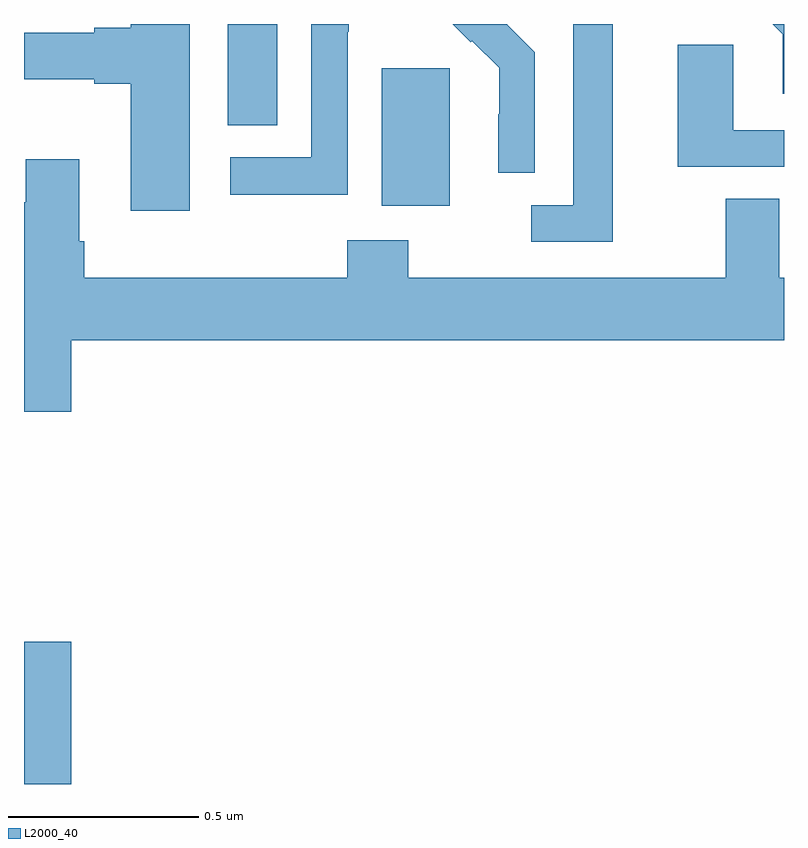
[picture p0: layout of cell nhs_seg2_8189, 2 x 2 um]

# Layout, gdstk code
import gdstk
lib = gdstk.Library(unit=1e-6, precision=1e-09)
def R(c, l, rs):  # rectangles x0, y0, x1, y1
    for r in rs: c.add(gdstk.rectangle(r[:2], r[2:], *l))
def P(c, l, *ps):  # polygons
    for p in ps: c.add(gdstk.Polygon(p, *l))
L2000_40 = (2000, 40)

nhs_seg2_8189 = lib.new_cell('nhs_seg2_8189')
R(nhs_seg2_8189, L2000_40, [(213,647.8,213.124,648.175), (213.941,649.322,214.12,649.683), (213.536,649.534,213.667,649.8)])
P(nhs_seg2_8189, L2000_40, [(213.436,649.8),(213.281,649.8),(213.281,649.79),(213.185,649.79),(213.185,649.777),(213,649.777),(213,649.655),(213.185,649.655),(213.185,649.643),(213.281,649.643),(213.281,649.308),(213.436,649.308)],
  [(214.549,649.8),(214.445,649.8),(214.445,649.323),(214.335,649.323),(214.335,649.227),(214.549,649.227)],
  [(215,649.8),(214.97,649.8),(214.997,649.773),(214.997,649.617),(215,649.617)],
  [(213.852,649.78),(213.855,649.78),(213.855,649.8),(213.756,649.8),(213.756,649.449),(213.543,649.449),(213.543,649.351),(213.852,649.351)],
  [(214.344,649.726),(214.271,649.799),(214.272,649.8),(214.128,649.8),(214.176,649.752),(214.179,649.755),(214.25,649.685),(214.25,649.562),(214.248,649.562),(214.248,649.408),(214.344,649.408)],
  [(215,649.521),(214.866,649.521),(214.866,649.745),(214.721,649.745),(214.721,649.425),(215,649.425)],
  [(213.124,648.968),(215,648.968),(215,649.132),(214.987,649.132),(214.987,649.34),(214.847,649.34),(214.847,649.132),(214.011,649.132),(214.011,649.231),(213.851,649.231),(213.851,649.132),(213.158,649.132),(213.158,649.228),(213.145,649.228),(213.145,649.444),(213.005,649.444),(213.005,649.331),(213,649.331),(213,648.78),(213.124,648.78)])

lib.write_gds('nhs_seg2_8189.gds')
